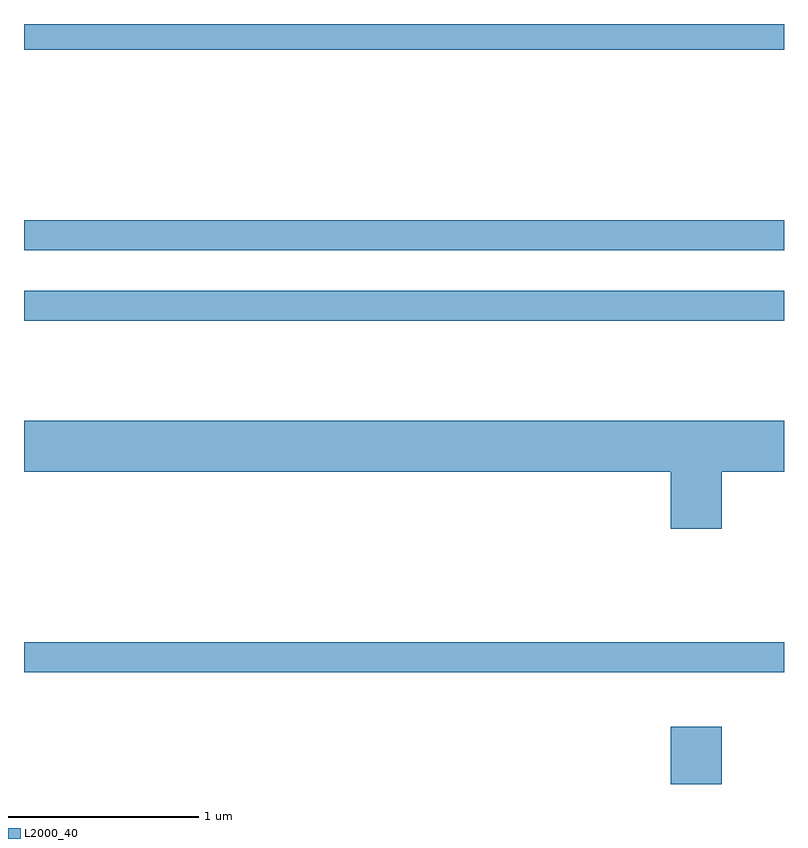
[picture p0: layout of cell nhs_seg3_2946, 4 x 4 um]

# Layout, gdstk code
import gdstk
lib = gdstk.Library(unit=1e-6, precision=1e-09)
def R(c, l, rs):  # rectangles x0, y0, x1, y1
    for r in rs: c.add(gdstk.rectangle(r[:2], r[2:], *l))
def P(c, l, *ps):  # polygons
    for p in ps: c.add(gdstk.Polygon(p, *l))
L2000_40 = (2000, 40)

nhs_seg3_2946 = lib.new_cell('nhs_seg3_2946')
R(nhs_seg3_2946, L2000_40, [(275.016,1159.892,275.284,1160.194), (271.611,1160.481,275.611,1160.639), (271.611,1162.331,275.611,1162.489), (271.611,1162.701,275.611,1162.859), (271.611,1163.756,275.611,1163.892)])
P(nhs_seg3_2946, L2000_40, [(275.284,1161.536),(275.611,1161.536),(275.611,1161.804),(271.611,1161.804),(271.611,1161.536),(275.016,1161.536),(275.016,1161.236),(275.284,1161.236)])

lib.write_gds('nhs_seg3_2946.gds')
